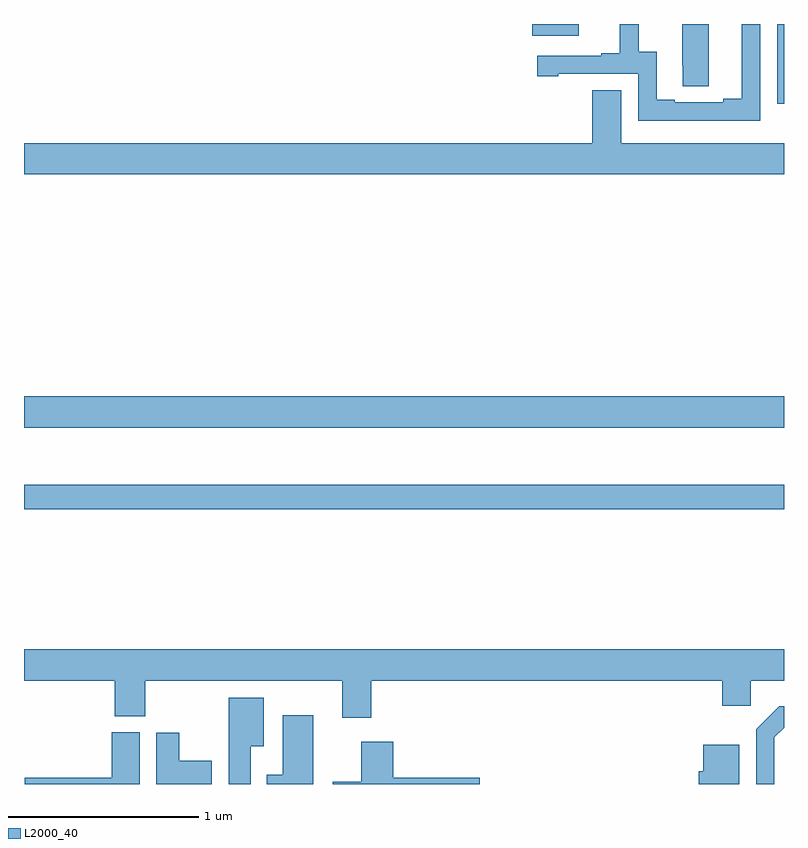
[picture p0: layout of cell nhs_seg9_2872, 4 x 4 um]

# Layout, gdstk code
import gdstk
lib = gdstk.Library(unit=1e-6, precision=1e-09)
def R(c, l, rs):  # rectangles x0, y0, x1, y1
    for r in rs: c.add(gdstk.rectangle(r[:2], r[2:], *l))
def P(c, l, *ps):  # polygons
    for p in ps: c.add(gdstk.Polygon(p, *l))
L2000_40 = (2000, 40)

nhs_seg9_2872 = lib.new_cell('nhs_seg9_2872')
R(nhs_seg9_2872, L2000_40, [(275,1239.946,279,1240.075), (275,1240.376,279,1240.54), (278.964,1242.08,279,1242.5), (277.676,1242.437,277.921,1242.5)])
P(nhs_seg9_2872, L2000_40, [(278.605,1242.5),(278.465,1242.5),(278.465,1242.28),(278.466,1242.28),(278.466,1242.172),(278.605,1242.172)],
  [(278.874,1242.5),(278.777,1242.5),(278.777,1242.107),(278.681,1242.107),(278.681,1242.087),(278.425,1242.087),(278.425,1242.102),(278.329,1242.102),(278.329,1242.353),(278.235,1242.353),(278.235,1242.5),(278.135,1242.5),(278.135,1242.346),(278.039,1242.346),(278.039,1242.333),(277.701,1242.333),(277.701,1242.225),(277.813,1242.225),(277.813,1242.237),(278.232,1242.237),(278.232,1241.991),(278.874,1241.991)],
  [(279,1241.872),(278.143,1241.872),(278.143,1242.152),(277.991,1242.152),(277.991,1241.872),(275,1241.872),(275,1241.708),(279,1241.708)],
  [(276.827,1239.044),(278.675,1239.044),(278.675,1238.913),(278.826,1238.913),(278.826,1239.044),(279,1239.044),(279,1239.208),(275,1239.208),(275,1239.044),(275.477,1239.044),(275.477,1238.857),(275.637,1238.857),(275.637,1239.044),(276.674,1239.044),(276.674,1238.85),(276.827,1238.85)],
  [(276.193,1238.699),(276.262,1238.699),(276.262,1238.953),(276.077,1238.953),(276.077,1238.5),(276.193,1238.5)],
  [(278.949,1238.745),(279,1238.796),(279,1238.908),(278.974,1238.908),(278.853,1238.787),(278.853,1238.5),(278.949,1238.5)],
  [(276.523,1238.863),(276.362,1238.863),(276.362,1238.548),(276.278,1238.548),(276.278,1238.5),(276.523,1238.5)],
  [(275.608,1238.772),(275.462,1238.772),(275.462,1238.534),(275.004,1238.534),(275.004,1238.5),(275.608,1238.5)],
  [(275.989,1238.623),(275.818,1238.623),(275.818,1238.77),(275.696,1238.77),(275.696,1238.5),(275.989,1238.5)],
  [(277.399,1238.534),(276.944,1238.534),(276.944,1238.722),(276.776,1238.722),(276.776,1238.511),(276.624,1238.511),(276.624,1238.5),(277.399,1238.5)],
  [(278.764,1238.707),(278.576,1238.707),(278.576,1238.568),(278.552,1238.568),(278.552,1238.5),(278.764,1238.5)])

lib.write_gds('nhs_seg9_2872.gds')
